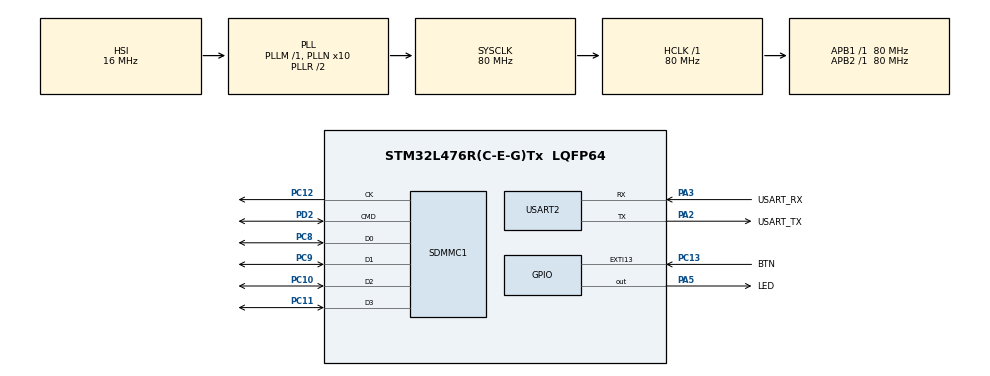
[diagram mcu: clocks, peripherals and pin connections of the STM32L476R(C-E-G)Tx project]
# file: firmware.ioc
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Dma.Request0=SDMMC1
Dma.SDMMC1.0.Direction=DMA_PERIPH_TO_MEMORY
Dma.SDMMC1.0.Instance=DMA2_Channel4
Dma.SDMMC1.0.MemDataAlignment=DMA_MDATAALIGN_WORD
Dma.SDMMC1.0.MemInc=DMA_MINC_ENABLE
Dma.SDMMC1.0.Mode=DMA_NORMAL
Dma.SDMMC1.0.PeriphDataAlignment=DMA_PDATAALIGN_WORD
Dma.SDMMC1.0.PeriphInc=DMA_PINC_DISABLE
Dma.SDMMC1.0.Priority=DMA_PRIORITY_VERY_HIGH
FATFS._MAX_SS=4096
FATFS._STRF_ENCODE=3
FATFS._USE_LFN=3
FATFS._USE_STRFUNC=0
FREERTOS.CountingSemaphores01=semSDFIFO,400,Dynamic,NULL;semUARTFIFO,20,Dynamic,NULL;semCTL_INFIFO,10,Dynamic,NULL;semCTL_OUTFIFO,10,Dynamic,NULL
FREERTOS.Queues01=LEDTaskMsgQueue,16,uint16_t,0,Dynamic,NULL,NULL;CommTaskMsgQueue,16,uint16_t,0,Dynamic,NULL,NULL;SensorTaskMsgQueue,32,uint16_t,0,Dynamic,NULL,NULL;SDcardTaskMsgQueue,410,uint16_t,0,Dynamic,NULL,NULL;ControlTaskMsgQueue,16,uint16_t,0,Dynamic,NULL,NULL
FREERTOS.Tasks01=SDcardTask,-1,2048,SDcardTaskFunc,Default,NULL,Dynamic,NULL,NULL;CommTask,0,256,CommTaskFunc,Default,NULL,Dynamic,NULL,NULL;SensorTask,2,256,SensorTaskFunc,Default,NULL,Dynamic,NULL,NULL;LEDTask,-2,128,LEDTaskFunc,Default,NULL,Dynamic,NULL,NULL;ControlTask,2,256,ControlTaskFunc,Default,NULL,Dynamic,NULL,NULL
FREERTOS.configTOTAL_HEAP_SIZE=16000
FREERTOS.configUSE_COUNTING_SEMAPHORES=1
Mcu.Family=STM32L4
Mcu.Name=STM32L476R(C-E-G)Tx
Mcu.Package=LQFP64
NVIC.DMA2_Channel4_IRQn=true\:0\:0\:true\:false\:true\:false\:false
NVIC.EXTI15_10_IRQn=true\:5\:0\:false\:false\:true\:true\:true
NVIC.PriorityGroup=NVIC_PRIORITYGROUP_4
NVIC.SDMMC1_IRQn=true\:5\:0\:false\:false\:true\:true\:true
NVIC.TIM6_DAC_IRQn=true\:0\:0\:false\:false\:true\:false\:false
NVIC.TimeBase=TIM6_DAC_IRQn
NVIC.TimeBaseIP=TIM6
PA2.GPIO_Label=USART_TX
PA2.GPIO_Mode=GPIO_MODE_AF_PP
PA2.GPIO_PuPd=GPIO_NOPULL
PA2.GPIO_Speed=GPIO_SPEED_FREQ_VERY_HIGH
PA2.Mode=Asynchronous
PA2.Signal=USART2_TX
PA3.GPIO_Label=USART_RX
PA3.GPIO_Mode=GPIO_MODE_AF_PP
PA3.GPIO_PuPd=GPIO_NOPULL
PA3.GPIO_Speed=GPIO_SPEED_FREQ_VERY_HIGH
PA3.Mode=Asynchronous
PA3.Signal=USART2_RX
PA5.GPIO_Label=LED
PA5.GPIO_ModeDefaultOutputPP=GPIO_MODE_OUTPUT_PP
PA5.GPIO_PuPd=GPIO_NOPULL
PA5.GPIO_Speed=GPIO_SPEED_FREQ_LOW
PA5.Signal=GPIO_Output
PC10.GPIO_PuPd=GPIO_PULLUP
PC10.Mode=SD_4_bits_Wide_bus
PC10.Signal=SDMMC1_D2
PC11.GPIO_PuPd=GPIO_PULLUP
PC11.Mode=SD_4_bits_Wide_bus
PC11.Signal=SDMMC1_D3
PC12.GPIO_PuPd=GPIO_NOPULL
PC12.Mode=SD_4_bits_Wide_bus
PC12.Signal=SDMMC1_CK
PC13.GPIO_Label=BTN
PC13.Signal=GPXTI13
PC14-OSC32_IN\ (PC14).Mode=LSE-External-Oscillator
PC14-OSC32_IN\ (PC14).Signal=RCC_OSC32_IN
PC15-OSC32_OUT\ (PC15).Mode=LSE-External-Oscillator
PC15-OSC32_OUT\ (PC15).Signal=RCC_OSC32_OUT
PC8.GPIO_PuPd=GPIO_PULLUP
PC8.Mode=SD_4_bits_Wide_bus
PC8.Signal=SDMMC1_D0
PC9.GPIO_PuPd=GPIO_PULLUP
PC9.Mode=SD_4_bits_Wide_bus
PC9.Signal=SDMMC1_D1
PD2.GPIO_PuPd=GPIO_PULLUP
PD2.Mode=SD_4_bits_Wide_bus
PD2.Signal=SDMMC1_CMD
ProjectManager.HeapSize=0x3000
ProjectManager.StackSize=0x3000
ProjectManager.TargetToolchain=SW4STM32
RCC.ADCFreq_Value=96000000
RCC.AHBFreq_Value=80000000
RCC.APB1Freq_Value=80000000
RCC.APB1TimFreq_Value=80000000
RCC.APB2Freq_Value=80000000
RCC.APB2TimFreq_Value=80000000
RCC.CortexFreq_Value=80000000
RCC.HCLKFreq_Value=80000000
RCC.HSE_VALUE=8000000
RCC.HSI_VALUE=16000000
RCC.MSI_VALUE=4000000
RCC.PLLN=10
RCC.PLLSAI1N=12
RCC.PLLSAI1Q=RCC_PLLQ_DIV4
RCC.PLLSourceVirtual=RCC_PLLSOURCE_HSI
RCC.PREFETCH_ENABLE=1
RCC.SYSCLKFreq_VALUE=80000000
RCC.SYSCLKSource=RCC_SYSCLKSOURCE_PLLCLK
RCC.USBFreq_Value=48000000
RCC.VCOOutputFreq_Value=160000000
SDMMC1.ClockDiv=3
USART2.VirtualMode-Asynchronous=VM_ASYNC
USART2.WordLength=WORDLENGTH_8B
VP_FATFS_VS_SDIO.Mode=SDIO
VP_FREERTOS_VS_ENABLE.Mode=Enabled
VP_RTC_VS_RTC_Activate.Mode=RTC_Enabled
VP_RTC_VS_RTC_Calendar.Mode=RTC_Calendar
VP_SYS_VS_tim6.Mode=TIM6
board=NUCLEO-L476RG

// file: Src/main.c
/**
  ******************************************************************************
  * @file           : main.c
  * @brief          : Main program body
  ******************************************************************************
  * This notice applies to any and all portions of this file
  * that are not between comment pairs USER CODE BEGIN and
  * USER CODE END. Other portions of this file, whether
  * inserted by the user or by software development tools
  * are owned by their respective copyright owners.
  *
  * Copyright (c) 2018 STMicroelectronics International N.V.
  * All rights reserved.
  *
  * Redistribution and use in source and binary forms, with or without
  * modification, are permitted, provided that the following conditions are met:
  *
  * 1. Redistribution of source code must retain the above copyright notice,
  *    this list of conditions and the following disclaimer.
  * 2. Redistributions in binary form must reproduce the above copyright notice,
  *    this list of conditions and the following disclaimer in the documentation
  *    and/or other materials provided with the distribution.
  * 3. Neither the name of STMicroelectronics nor the names of other
  *    contributors to this software may be used to endorse or promote products
  *    derived from this software without specific written permission.
  * 4. This software, including modifications and/or derivative works of this
  *    software, must execute solely and exclusively on microcontroller or
  *    microprocessor devices manufactured by or for STMicroelectronics.
  * 5. Redistribution and use of this software other than as permitted under
  *    this license is void and will automatically terminate your rights under
  *    this license.
  *
  * THIS SOFTWARE IS PROVIDED BY STMICROELECTRONICS AND CONTRIBUTORS "AS IS"
  * AND ANY EXPRESS, IMPLIED OR STATUTORY WARRANTIES, INCLUDING, BUT NOT
  * LIMITED TO, THE IMPLIED WARRANTIES OF MERCHANTABILITY, FITNESS FOR A
  * PARTICULAR PURPOSE AND NON-INFRINGEMENT OF THIRD PARTY INTELLECTUAL PROPERTY
  * RIGHTS ARE DISCLAIMED TO THE FULLEST EXTENT PERMITTED BY LAW. IN NO EVENT
  * SHALL STMICROELECTRONICS OR CONTRIBUTORS BE LIABLE FOR ANY DIRECT, INDIRECT,
  * INCIDENTAL, SPECIAL, EXEMPLARY, OR CONSEQUENTIAL DAMAGES (INCLUDING, BUT NOT
  * LIMITED TO, PROCUREMENT OF SUBSTITUTE GOODS OR SERVICES; LOSS OF USE, DATA,
  * OR PROFITS; OR BUSINESS INTERRUPTION) HOWEVER CAUSED AND ON ANY THEORY OF
  * LIABILITY, WHETHER IN CONTRACT, STRICT LIABILITY, OR TORT (INCLUDING
  * NEGLIGENCE OR OTHERWISE) ARISING IN ANY WAY OUT OF THE USE OF THIS SOFTWARE,
  * EVEN IF ADVISED OF THE POSSIBILITY OF SUCH DAMAGE.
  *
  ******************************************************************************
  */
#include "main.h"
#include "stm32l4xx_hal.h"
#include "cmsis_os.h"
#include "fatfs.h"

/* USER CODE BEGIN Includes */
#define FATFS_MKFS_ALLOWED 1
/* USER CODE END Includes */

RTC_HandleTypeDef hrtc;

SD_HandleTypeDef hsd1;
DMA_HandleTypeDef hdma_sdmmc1;

UART_HandleTypeDef huart2;

osThreadId SDcardTaskHandle;
osThreadId CommTaskHandle;
osThreadId SensorTaskHandle;
osThreadId LEDTaskHandle;
osThreadId ControlTaskHandle;
osMessageQId LEDTaskMsgQueueHandle;
osMessageQId CommTaskMsgQueueHandle;
osMessageQId SensorTaskMsgQueueHandle;
osMessageQId SDcardTaskMsgQueueHandle;
osMessageQId ControlTaskMsgQueueHandle;
osSemaphoreId semSDFIFOHandle;
osSemaphoreId semUARTFIFOHandle;
osSemaphoreId semCTL_INFIFOHandle;
osSemaphoreId semCTL_OUTFIFOHandle;

/* USER CODE BEGIN PV */
/* Private variables ---------------------------------------------------------*/
FATFS SDFatFs;  /* File system object for SD card logical drive */
FIL MyFile;     /* File object */
char SDPath[4]; /* SD card logical drive path */

typedef enum {
  CARD_CONNECTED,
  CARD_DISCONNECTED,
}SD_ConnectionStateTypeDef;

static uint8_t isInitialized = 0;
static uint8_t isConnected = 0;
#if FATFS_MKFS_ALLOWED
static uint8_t isFsCreated = 0;
#endif
uint8_t workBuffer[2 * _MAX_SS];
/* USER CODE END PV */

void SystemClock_Config(void);
static void MX_GPIO_Init(void);
static void MX_DMA_Init(void);
static void MX_USART2_UART_Init(void);
static void MX_RTC_Init(void);
static void MX_SDMMC1_SD_Init(void);
void SDcardTaskFunc(void const * argument);
void CommTaskFunc(void const * argument);
void SensorTaskFunc(void const * argument);
void LEDTaskFunc(void const * argument);
void ControlTaskFunc(void const * argument);

/* USER CODE BEGIN PFP */
/* Private function prototypes -----------------------------------------------*/
static void SD_Initialize(void);
static void FS_FileOperations(void);

/* USER CODE END PFP */

int main(void)
{

  /* MCU Configuration----------------------------------------------------------*/

  /* Reset of all peripherals, Initializes the Flash interface and the Systick. */
  HAL_Init();

  /* Configure the system clock */
  SystemClock_Config();

  /* Initialize all configured peripherals */
  MX_GPIO_Init();
  MX_DMA_Init();
  MX_USART2_UART_Init();
  MX_RTC_Init();
  MX_SDMMC1_SD_Init();
  /* USER CODE BEGIN 2 */
  if(FATFS_LinkDriver(&SD_Driver, SDPath) == 0)
  {
    SD_Initialize();
    FS_FileOperations();
  }
  /* USER CODE END 2 */

  /* Create the semaphores(s) */
  /* definition and creation of semSDFIFO */
  osSemaphoreDef(semSDFIFO);
  semSDFIFOHandle = osSemaphoreCreate(osSemaphore(semSDFIFO), 400);

  /* definition and creation of semUARTFIFO */
  osSemaphoreDef(semUARTFIFO);
  semUARTFIFOHandle = osSemaphoreCreate(osSemaphore(semUARTFIFO), 20);

  /* definition and creation of semCTL_INFIFO */
  osSemaphoreDef(semCTL_INFIFO);
  semCTL_INFIFOHandle = osSemaphoreCreate(osSemaphore(semCTL_INFIFO), 10);

  /* definition and creation of semCTL_OUTFIFO */
  osSemaphoreDef(semCTL_OUTFIFO);
  semCTL_OUTFIFOHandle = osSemaphoreCreate(osSemaphore(semCTL_OUTFIFO), 10);

  /* Create the thread(s) */
  /* definition and creation of SDcardTask */
  osThreadDef(SDcardTask, SDcardTaskFunc, osPriorityBelowNormal, 0, 2048);
  SDcardTaskHandle = osThreadCreate(osThread(SDcardTask), NULL);

  /* definition and creation of CommTask */
  osThreadDef(CommTask, CommTaskFunc, osPriorityNormal, 0, 256);
  CommTaskHandle = osThreadCreate(osThread(CommTask), NULL);

  /* definition and creation of SensorTask */
  osThreadDef(SensorTask, SensorTaskFunc, osPriorityHigh, 0, 256);
  SensorTaskHandle = osThreadCreate(osThread(SensorTask), NULL);

  /* definition and creation of LEDTask */
  osThreadDef(LEDTask, LEDTaskFunc, osPriorityLow, 0, 128);
  LEDTaskHandle = osThreadCreate(osThread(LEDTask), NULL);

  /* definition and creation of ControlTask */
  osThreadDef(ControlTask, ControlTaskFunc, osPriorityHigh, 0, 256);
  ControlTaskHandle = osThreadCreate(osThread(ControlTask), NULL);

  /* Create the queue(s) */
  /* definition and creation of LEDTaskMsgQueue */
  osMessageQDef(LEDTaskMsgQueue, 16, uint16_t);
  LEDTaskMsgQueueHandle = osMessageCreate(osMessageQ(LEDTaskMsgQueue), NULL);

  /* definition and creation of CommTaskMsgQueue */
  osMessageQDef(CommTaskMsgQueue, 16, uint16_t);
  CommTaskMsgQueueHandle = osMessageCreate(osMessageQ(CommTaskMsgQueue), NULL);

  /* definition and creation of SensorTaskMsgQueue */
  osMessageQDef(SensorTaskMsgQueue, 32, uint16_t);
  SensorTaskMsgQueueHandle = osMessageCreate(osMessageQ(SensorTaskMsgQueue), NULL);

  /* definition and creation of SDcardTaskMsgQueue */
  osMessageQDef(SDcardTaskMsgQueue, 410, uint16_t);
  SDcardTaskMsgQueueHandle = osMessageCreate(osMessageQ(SDcardTaskMsgQueue), NULL);

  /* definition and creation of ControlTaskMsgQueue */
  osMessageQDef(ControlTaskMsgQueue, 16, uint16_t);
  ControlTaskMsgQueueHandle = osMessageCreate(osMessageQ(ControlTaskMsgQueue), NULL);

  /* Start scheduler */
  osKernelStart();

  /* We should never get here as control is now taken by the scheduler */

  /* Infinite loop */
  while (1)
  {

  }

}

void SystemClock_Config(void)
{

  RCC_OscInitTypeDef RCC_OscInitStruct;
  RCC_ClkInitTypeDef RCC_ClkInitStruct;
  RCC_PeriphCLKInitTypeDef PeriphClkInit;

    /**Initializes the CPU, AHB and APB busses clocks
    */
  RCC_OscInitStruct.OscillatorType = RCC_OSCILLATORTYPE_HSI|RCC_OSCILLATORTYPE_LSI;
  RCC_OscInitStruct.HSIState = RCC_HSI_ON;
  RCC_OscInitStruct.HSICalibrationValue = 16;
  RCC_OscInitStruct.LSIState = RCC_LSI_ON;
  RCC_OscInitStruct.PLL.PLLState = RCC_PLL_ON;
  RCC_OscInitStruct.PLL.PLLSource = RCC_PLLSOURCE_HSI;
  RCC_OscInitStruct.PLL.PLLM = 1;
  RCC_OscInitStruct.PLL.PLLN = 10;
  RCC_OscInitStruct.PLL.PLLP = RCC_PLLP_DIV7;
  RCC_OscInitStruct.PLL.PLLQ = RCC_PLLQ_DIV2;
  RCC_OscInitStruct.PLL.PLLR = RCC_PLLR_DIV2;
  if (HAL_RCC_OscConfig(&RCC_OscInitStruct) != HAL_OK)
  {
    _Error_Handler(__FILE__, __LINE__);
  }

    /**Initializes the CPU, AHB and APB busses clocks
    */
  RCC_ClkInitStruct.ClockType = RCC_CLOCKTYPE_HCLK|RCC_CLOCKTYPE_SYSCLK
                              |RCC_CLOCKTYPE_PCLK1|RCC_CLOCKTYPE_PCLK2;
  RCC_ClkInitStruct.SYSCLKSource = RCC_SYSCLKSOURCE_PLLCLK;
  RCC_ClkInitStruct.AHBCLKDivider = RCC_SYSCLK_DIV1;
  RCC_ClkInitStruct.APB1CLKDivider = RCC_HCLK_DIV1;
  RCC_ClkInitStruct.APB2CLKDivider = RCC_HCLK_DIV1;

  if (HAL_RCC_ClockConfig(&RCC_ClkInitStruct, FLASH_LATENCY_4) != HAL_OK)
  {
    _Error_Handler(__FILE__, __LINE__);
  }

  PeriphClkInit.PeriphClockSelection = RCC_PERIPHCLK_RTC|RCC_PERIPHCLK_USART2
                              |RCC_PERIPHCLK_SDMMC1;
  PeriphClkInit.Usart2ClockSelection = RCC_USART2CLKSOURCE_PCLK1;
  PeriphClkInit.RTCClockSelection = RCC_RTCCLKSOURCE_LSI;
  PeriphClkInit.Sdmmc1ClockSelection = RCC_SDMMC1CLKSOURCE_PLLSAI1;
  PeriphClkInit.PLLSAI1.PLLSAI1Source = RCC_PLLSOURCE_HSI;
  PeriphClkInit.PLLSAI1.PLLSAI1M = 1;
  PeriphClkInit.PLLSAI1.PLLSAI1N = 12;
  PeriphClkInit.PLLSAI1.PLLSAI1P = RCC_PLLP_DIV7;
  PeriphClkInit.PLLSAI1.PLLSAI1Q = RCC_PLLQ_DIV4;
  PeriphClkInit.PLLSAI1.PLLSAI1R = RCC_PLLR_DIV2;
  PeriphClkInit.PLLSAI1.PLLSAI1ClockOut = RCC_PLLSAI1_48M2CLK;
  if (HAL_RCCEx_PeriphCLKConfig(&PeriphClkInit) != HAL_OK)
  {
    _Error_Handler(__FILE__, __LINE__);
  }

    /**Configure the main internal regulator output voltage
    */
  if (HAL_PWREx_ControlVoltageScaling(PWR_REGULATOR_VOLTAGE_SCALE1) != HAL_OK)
  {
    _Error_Handler(__FILE__, __LINE__);
  }

    /**Configure the Systick interrupt time
    */
  HAL_SYSTICK_Config(HAL_RCC_GetHCLKFreq()/1000);

    /**Configure the Systick
    */
  HAL_SYSTICK_CLKSourceConfig(SYSTICK_CLKSOURCE_HCLK);

  /* SysTick_IRQn interrupt configuration */
  HAL_NVIC_SetPriority(SysTick_IRQn, 15, 0);
}

/* RTC init function */
static void MX_RTC_Init(void)
{

  RTC_TimeTypeDef sTime;
  RTC_DateTypeDef sDate;

    /**Initialize RTC Only
    */
  hrtc.Instance = RTC;
if(HAL_RTCEx_BKUPRead(&hrtc, RTC_BKP_DR0) != 0x32F2){
  hrtc.Init.HourFormat = RTC_HOURFORMAT_24;
  hrtc.Init.AsynchPrediv = 127;
  hrtc.Init.SynchPrediv = 255;
  hrtc.Init.OutPut = RTC_OUTPUT_DISABLE;
  hrtc.Init.OutPutRemap = RTC_OUTPUT_REMAP_NONE;
  hrtc.Init.OutPutPolarity = RTC_OUTPUT_POLARITY_HIGH;
  hrtc.Init.OutPutType = RTC_OUTPUT_TYPE_OPENDRAIN;
  if (HAL_RTC_Init(&hrtc) != HAL_OK)
  {
    _Error_Handler(__FILE__, __LINE__);
  }

    /**Initialize RTC and set the Time and Date
    */
  sTime.Hours = 0x0;
  sTime.Minutes = 0x0;
  sTime.Seconds = 0x0;
  sTime.DayLightSaving = RTC_DAYLIGHTSAVING_NONE;
  sTime.StoreOperation = RTC_STOREOPERATION_RESET;
  if (HAL_RTC_SetTime(&hrtc, &sTime, RTC_FORMAT_BCD) != HAL_OK)
  {
    _Error_Handler(__FILE__, __LINE__);
  }

  sDate.WeekDay = RTC_WEEKDAY_MONDAY;
  sDate.Month = RTC_MONTH_JANUARY;
  sDate.Date = 0x1;
  sDate.Year = 0x0;

  if (HAL_RTC_SetDate(&hrtc, &sDate, RTC_FORMAT_BCD) != HAL_OK)
  {
    _Error_Handler(__FILE__, __LINE__);
  }

    HAL_RTCEx_BKUPWrite(&hrtc,RTC_BKP_DR0,0x32F2);
  }

}

/* SDMMC1 init function */
static void MX_SDMMC1_SD_Init(void)
{

  hsd1.Instance = SDMMC1;
  hsd1.Init.ClockEdge = SDMMC_CLOCK_EDGE_RISING;
  hsd1.Init.ClockBypass = SDMMC_CLOCK_BYPASS_DISABLE;
  hsd1.Init.ClockPowerSave = SDMMC_CLOCK_POWER_SAVE_DISABLE;
  hsd1.Init.BusWide = SDMMC_BUS_WIDE_1B;
  hsd1.Init.HardwareFlowControl = SDMMC_HARDWARE_FLOW_CONTROL_DISABLE;
  hsd1.Init.ClockDiv = 3;

}

/* USART2 init function */
static void MX_USART2_UART_Init(void)
{

  huart2.Instance = USART2;
  huart2.Init.BaudRate = 115200;
  huart2.Init.WordLength = UART_WORDLENGTH_8B;
  huart2.Init.StopBits = UART_STOPBITS_1;
  huart2.Init.Parity = UART_PARITY_NONE;
  huart2.Init.Mode = UART_MODE_TX_RX;
  huart2.Init.HwFlowCtl = UART_HWCONTROL_NONE;
  huart2.Init.OverSampling = UART_OVERSAMPLING_16;
  huart2.Init.OneBitSampling = UART_ONE_BIT_SAMPLE_DISABLE;
  huart2.AdvancedInit.AdvFeatureInit = UART_ADVFEATURE_NO_INIT;
  if (HAL_UART_Init(&huart2) != HAL_OK)
  {
    _Error_Handler(__FILE__, __LINE__);
  }

}

static void MX_DMA_Init(void)
{
  /* DMA controller clock enable */
  __HAL_RCC_DMA2_CLK_ENABLE();

  /* DMA interrupt init */
  /* DMA2_Channel4_IRQn interrupt configuration */
  HAL_NVIC_SetPriority(DMA2_Channel4_IRQn, 0, 0);
  HAL_NVIC_EnableIRQ(DMA2_Channel4_IRQn);

}

/** Configure pins as
        * Analog
        * Input
        * Output
        * EVENT_OUT
        * EXTI
*/
static void MX_GPIO_Init(void)
{

  GPIO_InitTypeDef GPIO_InitStruct;

  /* GPIO Ports Clock Enable */
  __HAL_RCC_GPIOC_CLK_ENABLE();
  __HAL_RCC_GPIOA_CLK_ENABLE();
  __HAL_RCC_GPIOD_CLK_ENABLE();

  /*Configure GPIO pin Output Level */
  HAL_GPIO_WritePin(LED_GPIO_Port, LED_Pin, GPIO_PIN_RESET);

  /*Configure GPIO pin : BTN_Pin */
  GPIO_InitStruct.Pin = BTN_Pin;
  GPIO_InitStruct.Mode = GPIO_MODE_IT_RISING;
  GPIO_InitStruct.Pull = GPIO_NOPULL;
  HAL_GPIO_Init(BTN_GPIO_Port, &GPIO_InitStruct);

  /*Configure GPIO pin : LED_Pin */
  GPIO_InitStruct.Pin = LED_Pin;
  GPIO_InitStruct.Mode = GPIO_MODE_OUTPUT_PP;
  GPIO_InitStruct.Pull = GPIO_NOPULL;
  GPIO_InitStruct.Speed = GPIO_SPEED_FREQ_LOW;
  HAL_GPIO_Init(LED_GPIO_Port, &GPIO_InitStruct);

  /* EXTI interrupt init*/
  HAL_NVIC_SetPriority(EXTI15_10_IRQn, 5, 0);
  HAL_NVIC_EnableIRQ(EXTI15_10_IRQn);

}

/* USER CODE BEGIN 4 */
static void SD_Initialize(void)
{
  if (isInitialized == 0)
  {
    BSP_SD_Init();
    BSP_SD_ITConfig();

    if(BSP_SD_IsDetected())
    {
      isInitialized = 1;
    }
  }
}

static void FS_FileOperations(void)
{
  FRESULT res;                                          /* FatFs function common result code */
  uint32_t byteswritten, bytesread;                     /* File write/read counts */
  uint8_t wtext[] = "stm32l476g_eval: This is STM32 working with FatFs uSD + DMA + FreeRTOS"; /* File write buffer */
  uint8_t rtext[100];                                   /* File read buffer */

  /* Register the file system object to the FatFs module */
  if(f_mount(&SDFatFs, (TCHAR const*)SDPath, 1) == FR_OK)
  {
#if FATFS_MKFS_ALLOWED
    /* check whether the FS has been already created */
    if (isFsCreated == 0)
    {
      if(f_mkfs(SDPath, FM_ANY, 0, workBuffer, sizeof(workBuffer)) != FR_OK)
      {
    	HAL_GPIO_WritePin(LED_GPIO_Port,LED_Pin,GPIO_PIN_SET);
        return;
      }
      isFsCreated = 1;
    }
#endif

    /* Create and Open a new text file object with write access */
    if(f_open(&MyFile, "STM32.TXT", FA_CREATE_ALWAYS | FA_WRITE) == FR_OK)
    {
      /* Write data to the text file */
      res = f_write(&MyFile, wtext, sizeof(wtext), (void *)&byteswritten);

      if((byteswritten > 0) && (res == FR_OK))
      {
        /* Close the open text file */
        f_close(&MyFile);

        /* Open the text file object with read access */
        if(f_open(&MyFile, "STM32.TXT", FA_READ) == FR_OK)
        {
          /* Read data from the text file */
          res = f_read(&MyFile, rtext, sizeof(rtext), (void *)&bytesread);

          if((bytesread > 0) && (res == FR_OK))
          {
            /* Close the open text file */
            f_close(&MyFile);

            /* Compare read data with the expected data */
            if((bytesread == byteswritten))
            {
              /* Success of the demo: no error occurrence */
              HAL_GPIO_WritePin(LED_GPIO_Port,LED_Pin,GPIO_PIN_SET);
              return;
            }
          }
        }
      }
    }
  }
  /* Error */
  HAL_GPIO_WritePin(LED_GPIO_Port,LED_Pin,GPIO_PIN_RESET);
}

void HAL_GPIO_EXTI_Callback(uint16_t GPIO_Pin)
{
  /* Prevent unused argument(s) compilation warning */
  if(GPIO_Pin==BTN_Pin)
  {
	  HAL_GPIO_TogglePin(LED_GPIO_Port,LED_Pin);
  }

  /* NOTE: This function should not be modified, when the callback is needed,
           the HAL_GPIO_EXTI_Callback could be implemented in the user file
   */
}
/* USER CODE END 4 */

/* SDcardTaskFunc function */
void SDcardTaskFunc(void const * argument)
{
  /* init code for FATFS */
  MX_FATFS_Init();

  /* USER CODE BEGIN 5 */
  /* Infinite loop */
  for(;;)
  {
	//HAL_GPIO_TogglePin(LED_GPIO_Port, LED_Pin);
    osDelay(1000);
  }
  /* USER CODE END 5 */
}

/* CommTaskFunc function */
void CommTaskFunc(void const * argument)
{
  for(;;)
  {
    osDelay(1);
  }
}

/* SensorTaskFunc function */
void SensorTaskFunc(void const * argument)
{
  for(;;)
  {
    osDelay(1);
  }
}

/* LEDTaskFunc function */
void LEDTaskFunc(void const * argument)
{
  for(;;)
  {
    osDelay(1);
  }
}

/* ControlTaskFunc function */
void ControlTaskFunc(void const * argument)
{
  for(;;)
  {
    osDelay(1);
  }
}

void HAL_TIM_PeriodElapsedCallback(TIM_HandleTypeDef *htim)
{
  if (htim->Instance == TIM6) {
    HAL_IncTick();
  }
}

void _Error_Handler(char *file, int line)
{
  while(1)
  {
  }
}

/************************ (C) COPYRIGHT STMicroelectronics *****END OF FILE****/
